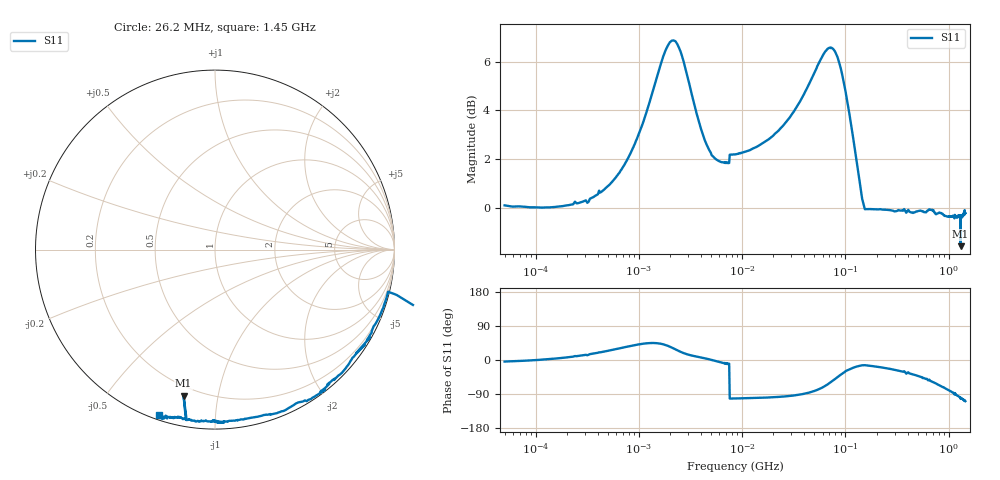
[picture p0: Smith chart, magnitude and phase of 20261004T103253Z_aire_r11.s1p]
! piloto_corto / aire / r11
# HZ S RI R 50
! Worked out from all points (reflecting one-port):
!   501 points, 50 kHz to 1.45 GHz, reference 50 ohm
!   lowest |S11| = -1.6 dB at 1.302 GHz (marker M1), VSWR 10.95, Z = 7.5 - j39.8 ohm
!   phase of S11 starts at -4 deg and turns -104 deg over the sweep
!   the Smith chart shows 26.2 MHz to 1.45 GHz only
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50000  1.008 -0.0727
183000  1.002 0.0997
335000  1.005 0.2775
658000  1.016 0.6138
1180000  1.128 1.09
1630000  1.448 1.345
1990000  1.788 1.26
2440000  1.955 0.8531
3430000  1.605 0.2933
4870000  1.305 0.0307
7300000  1.218 -0.2102
7750000  -0.2599 -1.258
8560000  -0.2558 -1.261
1.81e7  -0.2129 -1.366
3.16e7  -0.1006 -1.573
4.78e7  0.2093 -1.845
6.58e7  0.8615 -1.928
7.48e7  1.207 -1.75
8.83e7  1.494 -1.275
9.82e7  1.506 -0.9351
1e8  1.513 -0.8533
1.18e8  1.311 -0.4974
1.36e8  1.103 -0.3084
1.63e8  0.9615 -0.2472
4.06e8  0.8343 -0.5312
6.67e8  0.5634 -0.8128
1.3015e9  -0.1752 -0.814
1.45e9  -0.3106 -0.9236
